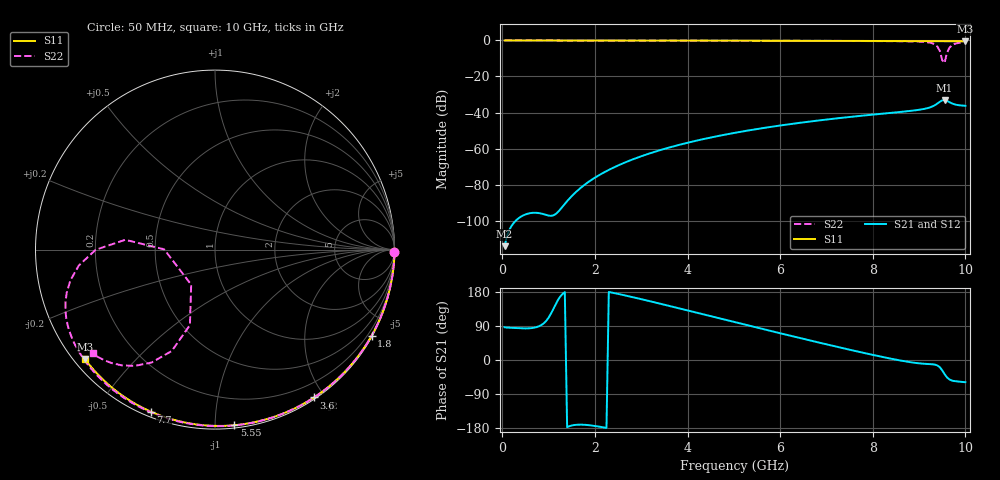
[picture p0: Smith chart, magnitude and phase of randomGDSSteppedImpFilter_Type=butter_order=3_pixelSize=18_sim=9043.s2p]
! freq	dB(S11)	phase(S11)	dB(S12)	phase(S12)
!  dB(S21)	phase(S21)	dB(S22)	phase(S22)
!S-par simulation data
#  GHz  S  DB  R 50
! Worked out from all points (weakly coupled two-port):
!   200 points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, 50 MHz to 10 GHz, reference 50 ohm
!   highest |S21| = -33.07 dB at 9.55 GHz (marker M1); lowest = -114.2 dB at 50 MHz (marker M2)
!   lowest |S11| = -0.5 dB at 10 GHz (marker M3), VSWR 36.76, Z = 1.54 - j18.2 ohm
!   |S11| at or under -10 dB: nowhere
!   |S22| runs from -12.5 to 0.0 dB; largest |S21 - S12| = 0
!   S11 on the Smith chart (normalised r, x): 50 MHz: open; 1.8 GHz: 0.03, -3.90; 3.6 GHz: 0.02, -1.87; 5.55 GHz: 0.02, -1.12; 7.7 GHz: 0.02, -0.68; 10 GHz: 0.03, -0.36
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0.05  -0.00 -0.8  -114.17 86.4  -114.17 86.4  -0.00 -0.9
1.75  -0.04 -28.0  -80.64 -170.8  -80.64 -170.8  -0.04 -31.0
1.8  -0.04 -28.8  -79.66 -171.2  -79.66 -171.2  -0.04 -31.9
2.5  -0.05 -39.6  -69.39 174.4  -69.39 174.4  -0.06 -43.9
3.4  -0.07 -53.2  -60.94 148.8  -60.94 148.8  -0.08 -58.9
3.6  -0.08 -56.2  -59.45 142.9  -59.45 142.9  -0.08 -62.2
5.05  -0.12 -76.9  -51.13 99.1  -51.13 99.1  -0.13 -85.1
5.55  -0.14 -83.7  -48.95 84.0  -48.95 84.0  -0.15 -92.7
6.7  -0.19 -98.9  -44.81 50.0  -44.81 50.0  -0.22 -109.9
7.7  -0.26 -111.7  -41.93 21.6  -41.93 21.6  -0.30 -125.0
8.35  -0.31 -119.7  -40.29 4.5  -40.29 4.5  -0.38 -135.8
9  -0.37 -127.7  -38.48 -8.8  -38.48 -8.8  -0.64 -151.1
9.3  -0.40 -131.4  -36.48 -11.4  -36.48 -11.4  -1.69 -168.0
9.4  -0.41 -132.6  -34.94 -14.7  -34.94 -14.7  -3.55 -179.9
9.45  -0.41 -133.2  -33.99 -19.5  -33.99 -19.5  -5.96 173.8
9.5  -0.42 -133.8  -33.25 -27.4  -33.25 -27.4  -10.95 179.6
9.55  -0.42 -134.4  -33.07 -37.2  -33.07 -37.2  -12.54 -124.2
9.6  -0.43 -135.0  -33.50 -45.6  -33.50 -45.6  -7.07 -108.4
9.65  -0.43 -135.6  -34.18 -51.0  -34.18 -51.0  -4.24 -113.1
9.7  -0.44 -136.2  -34.82 -53.9  -34.82 -53.9  -2.84 -119.3
9.85  -0.46 -138.1  -35.92 -56.9  -35.92 -56.9  -1.36 -132.3
10  -0.47 -139.9  -36.24 -58.6  -36.24 -58.6  -0.97 -139.7
